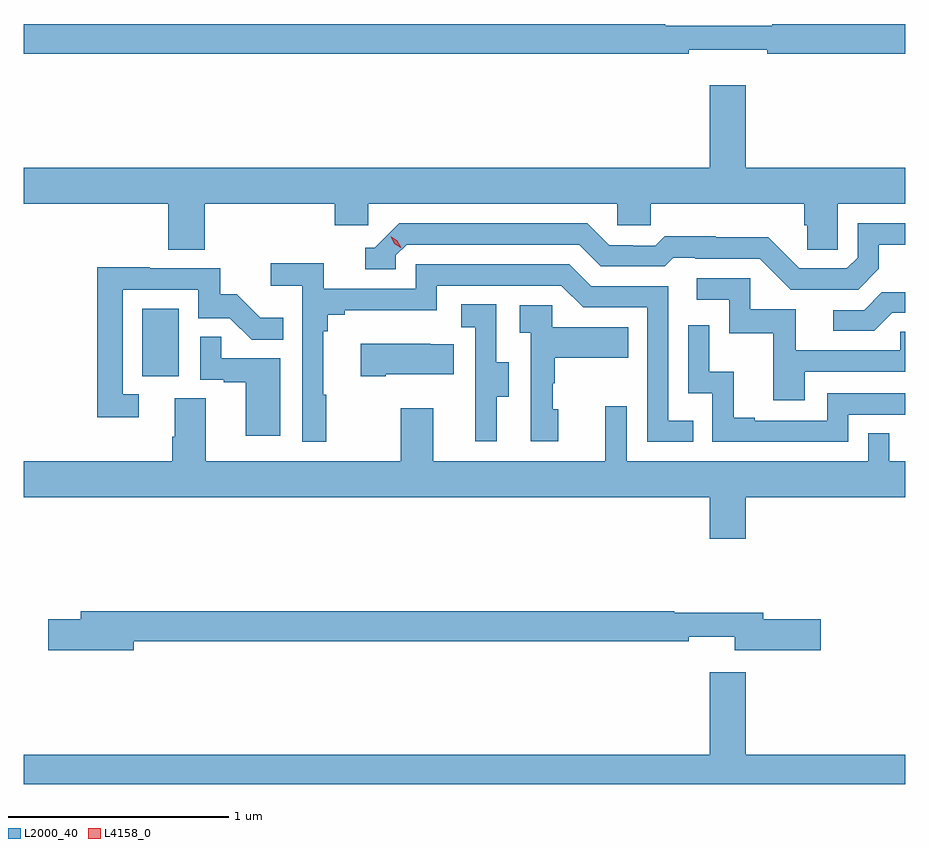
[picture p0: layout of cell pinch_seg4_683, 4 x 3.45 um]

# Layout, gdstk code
import gdstk
lib = gdstk.Library(unit=1e-6, precision=1e-09)
def R(c, l, rs):  # rectangles x0, y0, x1, y1
    for r in rs: c.add(gdstk.rectangle(r[:2], r[2:], *l))
def P(c, l, *ps):  # polygons
    for p in ps: c.add(gdstk.Polygon(p, *l))
L2000_40 = (2000, 40)
L4158_0 = (4158, 0)

pinch_seg4_683 = lib.new_cell('pinch_seg4_683')
R(pinch_seg4_683, L2000_40, [(1097.498,750.75,1097.662,751.057)])
P(pinch_seg4_683, L2000_40, [(1099.976,752.231),(1100.332,752.231),(1100.332,752.212),(1100.959,752.212),(1100.959,752.348),(1100.355,752.348),(1100.355,752.341),(1099.87,752.341),(1099.87,752.348),(1096.959,752.348),(1096.959,752.212),(1099.976,752.212)],
  [(1097.78,751.532),(1098.371,751.532),(1098.371,751.434),(1098.522,751.434),(1098.522,751.532),(1099.653,751.532),(1099.653,751.434),(1099.803,751.434),(1099.803,751.532),(1100.501,751.532),(1100.501,751.434),(1100.515,751.434),(1100.515,751.324),(1100.652,751.324),(1100.652,751.532),(1100.959,751.532),(1100.959,751.696),(1100.236,751.696),(1100.236,752.071),(1100.072,752.071),(1100.072,751.696),(1096.959,751.696),(1096.959,751.532),(1097.615,751.532),(1097.615,751.324),(1097.78,751.324)],
  [(1100.839,751.237),(1100.839,751.347),(1100.959,751.347),(1100.959,751.443),(1100.742,751.443),(1100.742,751.287),(1100.694,751.239),(1100.478,751.239),(1100.336,751.381),(1100.1,751.381),(1100.1,751.384),(1099.867,751.384),(1099.825,751.341),(1099.722,751.341),(1099.722,751.344),(1099.615,751.344),(1099.516,751.443),(1098.663,751.443),(1098.552,751.332),(1098.509,751.332),(1098.509,751.236),(1098.648,751.236),(1098.648,751.299),(1098.696,751.347),(1099.479,751.347),(1099.578,751.248),(1099.867,751.248),(1099.906,751.287),(1100.005,751.287),(1100.005,751.284),(1100.298,751.284),(1100.439,751.143),(1100.745,751.143)],
  [(1098.331,750.665),(1098.319,750.665),(1098.319,750.953),(1098.338,750.953),(1098.338,751.03),(1098.415,751.03),(1098.415,751.049),(1098.834,751.049),(1098.834,751.161),(1099.398,751.161),(1099.497,751.062),(1099.788,751.062),(1099.788,750.453),(1099.997,750.453),(1099.997,750.549),(1099.884,750.549),(1099.884,751.158),(1099.534,751.158),(1099.435,751.257),(1098.738,751.257),(1098.738,751.146),(1098.32,751.146),(1098.32,751.262),(1098.081,751.262),(1098.081,751.16),(1098.222,751.16),(1098.222,750.453),(1098.331,750.453)],
  [(1097.482,750.669),(1097.409,750.669),(1097.409,751.143),(1097.751,751.143),(1097.751,751.014),(1097.895,751.014),(1097.993,750.916),(1098.137,750.916),(1098.137,751.015),(1098.033,751.015),(1097.926,751.122),(1097.85,751.122),(1097.85,751.239),(1097.531,751.239),(1097.531,751.244),(1097.293,751.244),(1097.293,750.564),(1097.482,750.564)],
  [(1100.503,750.771),(1100.959,750.771),(1100.959,750.951),(1100.935,750.951),(1100.935,750.867),(1100.461,750.867),(1100.461,751.053),(1100.256,751.053),(1100.256,751.194),(1100.013,751.194),(1100.013,751.098),(1100.16,751.098),(1100.16,750.945),(1100.359,750.945),(1100.359,750.642),(1100.503,750.642)],
  [(1100.899,751.038),(1100.959,751.038),(1100.959,751.13),(1100.852,751.13),(1100.772,751.05),(1100.631,751.05),(1100.631,750.957),(1100.818,750.957)],
  [(1099.105,750.658),(1099.159,750.658),(1099.159,750.813),(1099.104,750.813),(1099.104,751.076),(1098.945,751.076),(1098.945,750.973),(1099.008,750.973),(1099.008,750.669),(1099.007,750.669),(1099.007,750.456),(1099.105,750.456)],
  [(1099.384,750.6),(1099.359,750.6),(1099.359,750.719),(1099.369,750.719),(1099.369,750.833),(1099.703,750.833),(1099.703,750.973),(1099.356,750.973),(1099.356,751.071),(1099.209,751.071),(1099.209,750.947),(1099.26,750.947),(1099.26,750.456),(1099.384,750.456)],
  [(1100.7,750.576),(1100.959,750.576),(1100.959,750.672),(1100.604,750.672),(1100.604,750.549),(1100.275,750.549),(1100.275,750.562),(1100.18,750.562),(1100.18,750.77),(1100.07,750.77),(1100.07,750.982),(1099.974,750.982),(1099.974,750.672),(1100.082,750.672),(1100.082,750.453),(1100.7,750.453)],
  [(1098.124,750.831),(1097.855,750.831),(1097.855,750.929),(1097.76,750.929),(1097.76,750.735),(1097.867,750.735),(1097.867,750.723),(1097.966,750.723),(1097.966,750.48),(1098.124,750.48)],
  [(1098.601,750.758),(1098.911,750.758),(1098.911,750.895),(1098.803,750.895),(1098.803,750.898),(1098.489,750.898),(1098.489,750.751),(1098.601,750.751)],
  [(1100.236,750.2),(1100.959,750.2),(1100.959,750.364),(1100.886,750.364),(1100.886,750.491),(1100.79,750.491),(1100.79,750.364),(1099.695,750.364),(1099.695,750.613),(1099.598,750.613),(1099.598,750.364),(1098.817,750.364),(1098.817,750.604),(1098.67,750.604),(1098.67,750.364),(1097.785,750.364),(1097.785,750.65),(1097.645,750.65),(1097.645,750.476),(1097.633,750.476),(1097.633,750.364),(1096.959,750.364),(1096.959,750.2),(1100.072,750.2),(1100.072,750.012),(1100.236,750.012)],
  [(1097.458,749.548),(1099.976,749.548),(1099.976,749.567),(1100.186,749.567),(1100.186,749.506),(1100.575,749.506),(1100.575,749.648),(1100.314,749.648),(1100.314,749.677),(1099.91,749.677),(1099.91,749.684),(1097.219,749.684),(1097.219,749.648),(1097.07,749.648),(1097.07,749.506),(1097.458,749.506)],
  [(1100.959,749.032),(1100.236,749.032),(1100.236,749.407),(1100.072,749.407),(1100.072,749.032),(1096.959,749.032),(1096.959,748.9),(1100.959,748.9)])
P(pinch_seg4_683, L4158_0, [(1098.67,751.332),(1098.64,751.352),(1098.624,751.385),(1098.624,751.385),(1098.625,751.385),(1098.655,751.365),(1098.671,751.332),(1098.671,751.332)])

lib.write_gds('pinch_seg4_683.gds')
